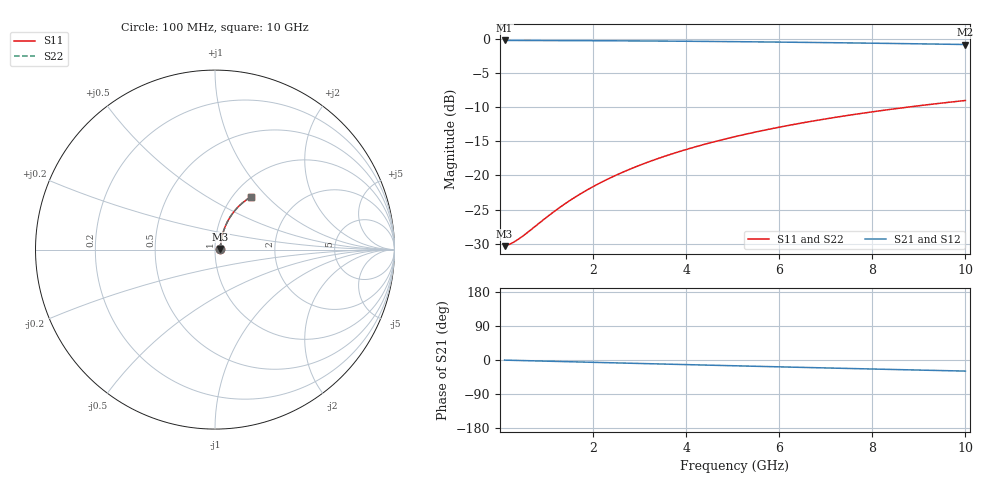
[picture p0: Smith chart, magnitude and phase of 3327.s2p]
# Hz S RI R 50.00
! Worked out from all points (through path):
!   100 points, 100 MHz to 10 GHz, reference 50 ohm
!   highest |S21| = -0.27 dB at 100 MHz (marker M1); lowest = -0.9 dB at 10 GHz (marker M2)
!   group delay of S21, straight-line fit = 8.15 ps
!   lowest |S11| = -30.3 dB at 100 MHz (marker M3), VSWR 1.06, Z = 53.1 + j0.393 ohm
!   |S11| at or under -10 dB: start of sweep to 8.775 GHz
!   |S22| runs from -30.3 to -9.0 dB; largest |S21 - S12| = 0
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1e8  0.0302 0.00369  0.9698 -0.00519  0.9698 -0.00519  0.0302 0.00369
2e8  0.0305 0.00738  0.9695 -0.0104  0.9695 -0.0104  0.0305 0.00738
3e8  0.0307 0.0111  0.9693 -0.0155  0.9693 -0.0155  0.0307 0.0111
4e8  0.031 0.0147  0.969 -0.0207  0.969 -0.0207  0.031 0.0147
6e8  0.0315 0.0221  0.9684 -0.0311  0.9684 -0.0311  0.0315 0.0221
1e9  0.0331 0.0368  0.9668 -0.0517  0.9668 -0.0517  0.0331 0.0368
1.2e9  0.034 0.044  0.9658 -0.062  0.9658 -0.062  0.034 0.044
1.5e9  0.0358 0.0549  0.9639 -0.0773  0.9639 -0.0773  0.0358 0.0549
1.8e9  0.0378 0.0657  0.9618 -0.0926  0.9618 -0.0926  0.0378 0.0657
2.1e9  0.0402 0.0765  0.9593 -0.1078  0.9593 -0.1078  0.0402 0.0765
2.5e9  0.0439 0.0906  0.9554 -0.128  0.9554 -0.128  0.0439 0.0906
2.9e9  0.0482 0.1045  0.9508 -0.1479  0.9508 -0.1479  0.0482 0.1045
3.4e9  0.0543 0.1216  0.9444 -0.1724  0.9444 -0.1724  0.0543 0.1216
3.8e9  0.0598 0.1349  0.9385 -0.1918  0.9385 -0.1918  0.0598 0.1349
4.2e9  0.0658 0.148  0.9321 -0.2108  0.9321 -0.2108  0.0658 0.148
4.6e9  0.0723 0.1607  0.9252 -0.2296  0.9252 -0.2296  0.0723 0.1607
5.1e9  0.0812 0.1762  0.9158 -0.2525  0.9158 -0.2525  0.0812 0.1762
5.9e9  0.0968 0.1996  0.8992 -0.288  0.8992 -0.288  0.0968 0.1996
6.7e9  0.1141 0.2214  0.8807 -0.3219  0.8807 -0.3219  0.1141 0.2214
7.5e9  0.1328 0.2415  0.8607 -0.3541  0.8607 -0.3541  0.1328 0.2415
8.4e9  0.1552 0.262  0.8366 -0.3881  0.8366 -0.3881  0.1552 0.262
1e10  0.1981 0.2923  0.7902 -0.4429  0.7902 -0.4429  0.1981 0.2923
